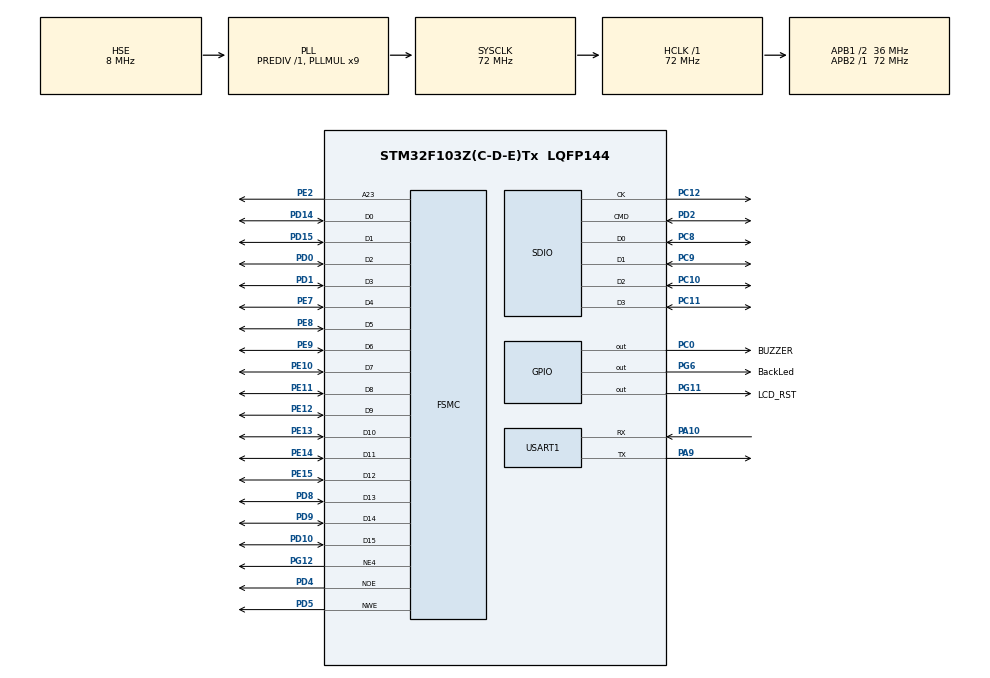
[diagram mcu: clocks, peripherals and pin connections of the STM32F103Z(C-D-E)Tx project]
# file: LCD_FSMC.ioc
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Dma.Request0=USART1_RX
Dma.Request1=USART1_TX
Dma.USART1_RX.0.Direction=DMA_PERIPH_TO_MEMORY
Dma.USART1_RX.0.Instance=DMA1_Channel5
Dma.USART1_RX.0.MemDataAlignment=DMA_MDATAALIGN_BYTE
Dma.USART1_RX.0.MemInc=DMA_MINC_ENABLE
Dma.USART1_RX.0.Mode=DMA_NORMAL
Dma.USART1_RX.0.PeriphDataAlignment=DMA_PDATAALIGN_BYTE
Dma.USART1_RX.0.PeriphInc=DMA_PINC_DISABLE
Dma.USART1_RX.0.Priority=DMA_PRIORITY_LOW
Dma.USART1_TX.1.Direction=DMA_MEMORY_TO_PERIPH
Dma.USART1_TX.1.Instance=DMA1_Channel4
Dma.USART1_TX.1.MemDataAlignment=DMA_MDATAALIGN_BYTE
Dma.USART1_TX.1.MemInc=DMA_MINC_ENABLE
Dma.USART1_TX.1.Mode=DMA_NORMAL
Dma.USART1_TX.1.PeriphDataAlignment=DMA_PDATAALIGN_BYTE
Dma.USART1_TX.1.PeriphInc=DMA_PINC_DISABLE
Dma.USART1_TX.1.Priority=DMA_PRIORITY_LOW
FATFS._CODE_PAGE=936
FATFS._MAX_LFN=255
FATFS._MAX_SS=512
FATFS._USE_LFN=3
Mcu.Family=STM32F1
Mcu.Name=STM32F103Z(C-D-E)Tx
Mcu.Package=LQFP144
NVIC.DMA1_Channel4_IRQn=true\:0\:0\:false\:false\:true\:false\:true\:true
NVIC.DMA1_Channel5_IRQn=true\:0\:0\:false\:false\:true\:false\:true\:true
NVIC.PriorityGroup=NVIC_PRIORITYGROUP_4
NVIC.SDIO_IRQn=true\:0\:0\:false\:false\:true\:true\:true\:true
NVIC.USART1_IRQn=true\:0\:0\:false\:false\:true\:true\:true\:true
OSC_IN.Mode=HSE-External-Oscillator
OSC_IN.Signal=RCC_OSC_IN
OSC_OUT.Mode=HSE-External-Oscillator
OSC_OUT.Signal=RCC_OSC_OUT
PA10.Mode=Asynchronous
PA10.Signal=USART1_RX
PA13.Mode=Serial_Wire
PA13.Signal=SYS_JTMS-SWDIO
PA14.Mode=Serial_Wire
PA14.Signal=SYS_JTCK-SWCLK
PA9.Mode=Asynchronous
PA9.Signal=USART1_TX
PC0.GPIO_Label=BUZZER
PC0.GPIO_PuPd=GPIO_PULLUP
PC0.Signal=GPIO_Output
PC10.Mode=SD_4_bits_Wide_bus
PC10.Signal=SDIO_D2
PC11.Mode=SD_4_bits_Wide_bus
PC11.Signal=SDIO_D3
PC12.Mode=SD_4_bits_Wide_bus
PC12.Signal=SDIO_CK
PC14-OSC32_IN.Mode=LSE-External-Oscillator
PC14-OSC32_IN.Signal=RCC_OSC32_IN
PC15-OSC32_OUT.Mode=LSE-External-Oscillator
PC15-OSC32_OUT.Signal=RCC_OSC32_OUT
PC8.Mode=SD_4_bits_Wide_bus
PC8.Signal=SDIO_D0
PC9.Mode=SD_4_bits_Wide_bus
PC9.Signal=SDIO_D1
PD0.Signal=FSMC_D2_DA2
PD1.Signal=FSMC_D3_DA3
PD10.Signal=FSMC_D15_DA15
PD14.Signal=FSMC_D0_DA0
PD15.Signal=FSMC_D1_DA1
PD2.Mode=SD_4_bits_Wide_bus
PD2.Signal=SDIO_CMD
PD4.Signal=FSMC_NOE
PD5.Signal=FSMC_NWE
PD8.Signal=FSMC_D13_DA13
PD9.Signal=FSMC_D14_DA14
PE10.Signal=FSMC_D7_DA7
PE11.Signal=FSMC_D8_DA8
PE12.Signal=FSMC_D9_DA9
PE13.Signal=FSMC_D10_DA10
PE14.Signal=FSMC_D11_DA11
PE15.Signal=FSMC_D12_DA12
PE2.Signal=FSMC_A23
PE7.Signal=FSMC_D4_DA4
PE8.Signal=FSMC_D5_DA5
PE9.Signal=FSMC_D6_DA6
PG11.GPIO_Label=LCD_RST
PG11.GPIO_PuPd=GPIO_PULLUP
PG11.PinState=GPIO_PIN_SET
PG11.Signal=GPIO_Output
PG12.Mode=NorPsramChipSelect4_1
PG12.Signal=FSMC_NE4
PG6.GPIO_Label=BackLed
PG6.GPIO_PuPd=GPIO_PULLUP
PG6.PinState=GPIO_PIN_SET
PG6.Signal=GPIO_Output
ProjectManager.HeapSize=0x200
ProjectManager.StackSize=0x1000
ProjectManager.TargetToolchain=CMake
RCC.AHBFreq_Value=72000000
RCC.APB1CLKDivider=RCC_HCLK_DIV2
RCC.APB1Freq_Value=36000000
RCC.APB1TimFreq_Value=72000000
RCC.APB2Freq_Value=72000000
RCC.APB2TimFreq_Value=72000000
RCC.HCLKFreq_Value=72000000
RCC.PLLMUL=RCC_PLL_MUL9
RCC.PLLSourceVirtual=RCC_PLLSOURCE_HSE
RCC.SYSCLKFreq_VALUE=72000000
RCC.SYSCLKSource=RCC_SYSCLKSOURCE_PLLCLK
RCC.USBFreq_Value=72000000
SDIO.ClockDiv=16
SH.FSMC_A23.0=FSMC_A23,A23_1
SH.FSMC_D0_DA0.0=FSMC_D0,16b-d1
SH.FSMC_D10_DA10.0=FSMC_D10,16b-d1
SH.FSMC_D11_DA11.0=FSMC_D11,16b-d1
SH.FSMC_D12_DA12.0=FSMC_D12,16b-d1
SH.FSMC_D13_DA13.0=FSMC_D13,16b-d1
SH.FSMC_D14_DA14.0=FSMC_D14,16b-d1
SH.FSMC_D15_DA15.0=FSMC_D15,16b-d1
SH.FSMC_D1_DA1.0=FSMC_D1,16b-d1
SH.FSMC_D2_DA2.0=FSMC_D2,16b-d1
SH.FSMC_D3_DA3.0=FSMC_D3,16b-d1
SH.FSMC_D4_DA4.0=FSMC_D4,16b-d1
SH.FSMC_D5_DA5.0=FSMC_D5,16b-d1
SH.FSMC_D6_DA6.0=FSMC_D6,16b-d1
SH.FSMC_D7_DA7.0=FSMC_D7,16b-d1
SH.FSMC_D8_DA8.0=FSMC_D8,16b-d1
SH.FSMC_D9_DA9.0=FSMC_D9,16b-d1
SH.FSMC_NOE.0=FSMC_NOE,Lcd1
SH.FSMC_NWE.0=FSMC_NWE,Lcd1
USART1.VirtualMode=VM_ASYNC
VP_FATFS_VS_SDIO.Mode=SDIO
board=custom

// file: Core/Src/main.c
/* USER CODE BEGIN Header */
/**
  ******************************************************************************
  * @file           : main.c
  * @brief          : Main program body
  ******************************************************************************
  * @attention
  *
  * Copyright (c) 2025 STMicroelectronics.
  * All rights reserved.
  *
  * This software is licensed under terms that can be found in the LICENSE file
  * in the root directory of this software component.
  * If no LICENSE file comes with this software, it is provided AS-IS.
  *
  ******************************************************************************
  */
/* USER CODE END Header */
#include "main.h"
#include "dma.h"
#include "fatfs.h"
#include "sdio.h"
#include "usart.h"
#include "gpio.h"
#include "fsmc.h"

/* USER CODE BEGIN Includes */
#include <stdio.h>
#include <string.h>
#include "ST7789V.h"
/* USER CODE END Includes */

void SystemClock_Config(void);

int main(void)
{

  /* MCU Configuration--------------------------------------------------------*/

  /* Reset of all peripherals, Initializes the Flash interface and the Systick. */
  HAL_Init();

  /* Configure the system clock */
  SystemClock_Config();

  /* Initialize all configured peripherals */
  MX_GPIO_Init();
  MX_DMA_Init();
  MX_FSMC_Init();
  MX_SDIO_SD_Init();
  MX_FATFS_Init();
  MX_USART1_UART_Init();
  /* USER CODE BEGIN 2 */
  ST7789V_Init();
  ST7789V_GramScan(6);
  ST7789V_SetColor(WHITE, BLUE2);
  ST7789V_ClearScreen(0,0,LCD_X_LENGTH,LCD_Y_LENGTH);
  sprintf(tx_buffer,"Ready!\r\n");
  HAL_UART_Transmit_DMA(&huart1,tx_buffer,strlen(tx_buffer));

  ST7789V_SetFont(&Font8x16);
  ST7789V_DispString_EN(LINE(0),"TEST");
  ST7789V_DispString_EN(LINE(1),"Hello World!");
  ST7789V_SetFontColor(RED);
  ST7789V_DispString_EN(LINE(2),"Hello World!!");
  ST7789V_SetFontColor(YELLOW);
  ST7789V_DispString_EN(LINE(3),"Hello World!!!");
  ST7789V_SetFontColor(GREEN);
  // ST7789V_DispString_EN(LINE(4),"Hello World!!!");
  ST7789V_SetFontColor(WHITE);
  // ST7789V_SetPointPixel(LCD_X_LENGTH/2,LCD_Y_LENGTH/2);
  ST7789v_DrawLine(30,160,139,200);
  ST7789V_DrawRectangle(80, 230, 50, 50,1);
  ST7789V_SetFontColor(GREEN);
  ST7789V_DrawRectangle(55, 215, 50, 50,1);
  ST7789V_SetFontColor(YELLOW);
  ST7789V_DrawRectangle(30, 200, 50, 50,1);
  ST7789V_DrawCircle(200, 280, 20, 1);
  ST7789V_SetFontColor(WHITE);
  ST7789V_DispString_CH(0,LINEY(4),"你好世界");
  ST7789V_DispString_CH(0,LINEY(5),"自强不息");
  HAL_GPIO_WritePin(BUZZER_GPIO_Port, BUZZER_Pin, GPIO_PIN_SET);
  HAL_Delay(300);
  HAL_GPIO_WritePin(BUZZER_GPIO_Port, BUZZER_Pin, GPIO_PIN_RESET);
  /* USER CODE END 2 */

  /* Infinite loop */
  while (1)
  {

  }
}

void SystemClock_Config(void)
{
  RCC_OscInitTypeDef RCC_OscInitStruct = {0};
  RCC_ClkInitTypeDef RCC_ClkInitStruct = {0};

  /** Initializes the RCC Oscillators according to the specified parameters
  * in the RCC_OscInitTypeDef structure.
  */
  RCC_OscInitStruct.OscillatorType = RCC_OSCILLATORTYPE_HSE;
  RCC_OscInitStruct.HSEState = RCC_HSE_ON;
  RCC_OscInitStruct.HSEPredivValue = RCC_HSE_PREDIV_DIV1;
  RCC_OscInitStruct.HSIState = RCC_HSI_ON;
  RCC_OscInitStruct.PLL.PLLState = RCC_PLL_ON;
  RCC_OscInitStruct.PLL.PLLSource = RCC_PLLSOURCE_HSE;
  RCC_OscInitStruct.PLL.PLLMUL = RCC_PLL_MUL9;
  if (HAL_RCC_OscConfig(&RCC_OscInitStruct) != HAL_OK)
  {
    Error_Handler();
  }

  /** Initializes the CPU, AHB and APB buses clocks
  */
  RCC_ClkInitStruct.ClockType = RCC_CLOCKTYPE_HCLK|RCC_CLOCKTYPE_SYSCLK
                              |RCC_CLOCKTYPE_PCLK1|RCC_CLOCKTYPE_PCLK2;
  RCC_ClkInitStruct.SYSCLKSource = RCC_SYSCLKSOURCE_PLLCLK;
  RCC_ClkInitStruct.AHBCLKDivider = RCC_SYSCLK_DIV1;
  RCC_ClkInitStruct.APB1CLKDivider = RCC_HCLK_DIV2;
  RCC_ClkInitStruct.APB2CLKDivider = RCC_HCLK_DIV1;

  if (HAL_RCC_ClockConfig(&RCC_ClkInitStruct, FLASH_LATENCY_2) != HAL_OK)
  {
    Error_Handler();
  }
}

void Error_Handler(void)
{
  /* USER CODE BEGIN Error_Handler_Debug */
  /* User can add his own implementation to report the HAL error return state */
  __disable_irq();
  HAL_GPIO_WritePin(BUZZER_GPIO_Port, BUZZER_Pin, GPIO_PIN_SET);
  while (1)
  {
  }
  /* USER CODE END Error_Handler_Debug */
}
